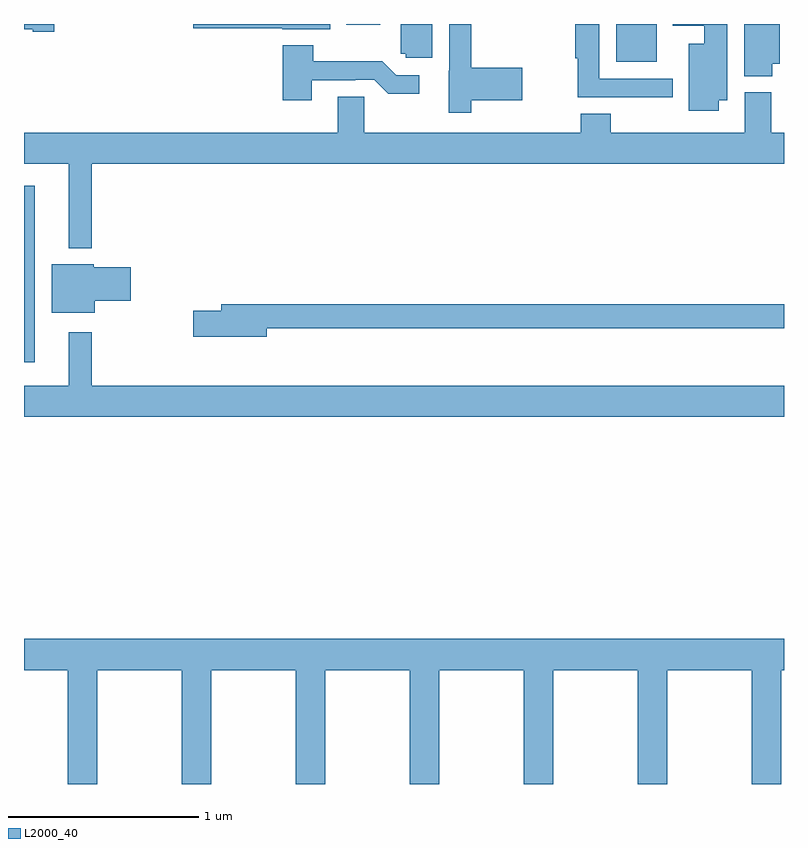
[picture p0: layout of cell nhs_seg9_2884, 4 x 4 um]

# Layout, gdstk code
import gdstk
lib = gdstk.Library(unit=1e-6, precision=1e-09)
def R(c, l, rs):  # rectangles x0, y0, x1, y1
    for r in rs: c.add(gdstk.rectangle(r[:2], r[2:], *l))
def P(c, l, *ps):  # polygons
    for p in ps: c.add(gdstk.Polygon(p, *l))
L2000_40 = (2000, 40)

nhs_seg9_2884 = lib.new_cell('nhs_seg9_2884')
R(nhs_seg9_2884, L2000_40, [(277,1184.721,277.057,1185.649), (280.118,1186.301,280.33,1186.5), (278.697,1186.496,278.875,1186.5)])
P(nhs_seg9_2884, L2000_40, [(277.159,1186.5),(277,1186.5),(277,1186.472),(277.046,1186.472),(277.046,1186.46),(277.159,1186.46)],
  [(280.937,1186.292),(280.978,1186.292),(280.978,1186.5),(280.79,1186.5),(280.79,1186.225),(280.937,1186.225)],
  [(279.148,1186.5),(278.984,1186.5),(278.984,1186.344),(279.009,1186.344),(279.009,1186.323),(279.148,1186.323)],
  [(280.414,1186.212),(280.027,1186.212),(280.027,1186.5),(279.902,1186.5),(279.902,1186.319),(279.914,1186.319),(279.914,1186.115),(280.414,1186.115)],
  [(280.657,1186.1),(280.702,1186.1),(280.702,1186.5),(280.415,1186.5),(280.415,1186.49),(280.58,1186.49),(280.58,1186.396),(280.499,1186.396),(280.499,1186.044),(280.657,1186.044)],
  [(278.612,1186.5),(277.89,1186.5),(277.89,1186.478),(278.358,1186.478),(278.358,1186.472),(278.612,1186.472)],
  [(279.353,1186.1),(279.622,1186.1),(279.622,1186.271),(279.353,1186.271),(279.353,1186.5),(279.237,1186.5),(279.237,1186.254),(279.236,1186.254),(279.236,1186.032),(279.353,1186.032)],
  [(278.515,1186.203),(278.744,1186.203),(278.744,1186.206),(278.844,1186.206),(278.917,1186.133),(279.079,1186.133),(279.079,1186.23),(278.958,1186.23),(278.885,1186.303),(278.523,1186.303),(278.523,1186.387),(278.363,1186.387),(278.363,1186.098),(278.515,1186.098)],
  [(277.357,1185.764),(281,1185.764),(281,1185.928),(280.934,1185.928),(280.934,1186.14),(280.793,1186.14),(280.793,1185.928),(280.089,1185.928),(280.089,1186.027),(279.929,1186.027),(279.929,1185.928),(278.79,1185.928),(278.79,1186.118),(278.651,1186.118),(278.651,1185.928),(277,1185.928),(277,1185.764),(277.235,1185.764),(277.235,1185.32),(277.357,1185.32)],
  [(277.372,1185.043),(277.561,1185.043),(277.561,1185.221),(277.368,1185.221),(277.368,1185.235),(277.145,1185.235),(277.145,1184.981),(277.372,1184.981)],
  [(278.278,1184.898),(281,1184.898),(281,1185.026),(278.039,1185.026),(278.039,1184.99),(277.89,1184.99),(277.89,1184.855),(278.278,1184.855)],
  [(281,1184.596),(277.357,1184.596),(277.357,1184.878),(277.235,1184.878),(277.235,1184.596),(277,1184.596),(277,1184.432),(281,1184.432)],
  [(277,1183.1),(277.231,1183.1),(277.231,1182.5),(277.386,1182.5),(277.386,1183.1),(277.831,1183.1),(277.831,1182.5),(277.986,1182.5),(277.986,1183.1),(278.431,1183.1),(278.431,1182.5),(278.586,1182.5),(278.586,1183.1),(279.031,1183.1),(279.031,1182.5),(279.186,1182.5),(279.186,1183.1),(279.631,1183.1),(279.631,1182.5),(279.786,1182.5),(279.786,1183.1),(280.231,1183.1),(280.231,1182.5),(280.386,1182.5),(280.386,1183.1),(280.831,1183.1),(280.831,1182.5),(280.986,1182.5),(280.986,1183.1),(281,1183.1),(281,1183.264),(277,1183.264)])

lib.write_gds('nhs_seg9_2884.gds')
